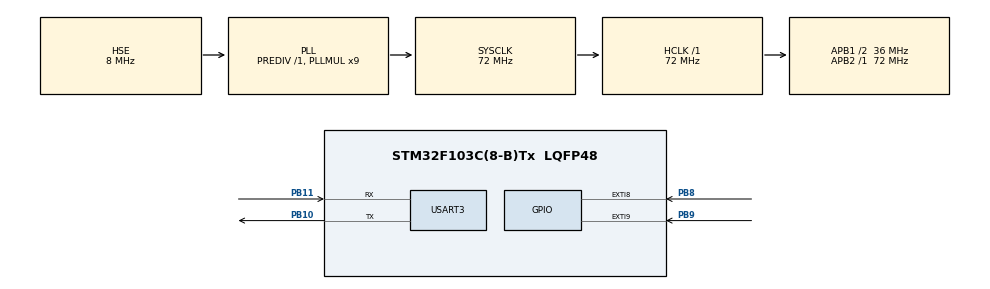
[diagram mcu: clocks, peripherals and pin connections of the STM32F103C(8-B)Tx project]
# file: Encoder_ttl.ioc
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Mcu.Family=STM32F1
Mcu.Name=STM32F103C(8-B)Tx
Mcu.Package=LQFP48
NVIC.EXTI9_5_IRQn=true\:0\:0\:true\:false\:true\:true\:true\:true
NVIC.PriorityGroup=NVIC_PRIORITYGROUP_4
PA13.Mode=Serial_Wire
PA13.Signal=SYS_JTMS-SWDIO
PA14.Mode=Serial_Wire
PA14.Signal=SYS_JTCK-SWCLK
PB10.Mode=Asynchronous
PB10.Signal=USART3_TX
PB11.Mode=Asynchronous
PB11.Signal=USART3_RX
PB8.GPIO_ModeDefaultEXTI=GPIO_MODE_IT_RISING_FALLING
PB8.GPIO_PuPd=GPIO_PULLDOWN
PB8.Signal=GPXTI8
PB9.GPIO_ModeDefaultEXTI=GPIO_MODE_IT_RISING_FALLING
PB9.GPIO_PuPd=GPIO_PULLDOWN
PB9.Signal=GPXTI9
PD0-OSC_IN.Mode=HSE-External-Oscillator
PD0-OSC_IN.Signal=RCC_OSC_IN
PD1-OSC_OUT.Mode=HSE-External-Oscillator
PD1-OSC_OUT.Signal=RCC_OSC_OUT
ProjectManager.HeapSize=0x200
ProjectManager.StackSize=0x400
ProjectManager.TargetToolchain=MDK-ARM V5.32
RCC.AHBFreq_Value=72000000
RCC.APB1CLKDivider=RCC_HCLK_DIV2
RCC.APB1Freq_Value=36000000
RCC.APB1TimFreq_Value=72000000
RCC.APB2Freq_Value=72000000
RCC.APB2TimFreq_Value=72000000
RCC.HCLKFreq_Value=72000000
RCC.PLLMUL=RCC_PLL_MUL9
RCC.PLLSourceVirtual=RCC_PLLSOURCE_HSE
RCC.SYSCLKFreq_VALUE=72000000
RCC.SYSCLKSource=RCC_SYSCLKSOURCE_PLLCLK
RCC.USBFreq_Value=72000000
USART3.VirtualMode=VM_ASYNC
board=custom

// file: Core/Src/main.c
/* USER CODE BEGIN Header */
/**
 ******************************************************************************
 * @file           : main.c
 * @brief          : Main program body
 ******************************************************************************
 * @attention
 *
 * Copyright (c) 2026 STMicroelectronics.
 * All rights reserved.
 *
 * This software is licensed under terms that can be found in the LICENSE file
 * in the root directory of this software component.
 * If no LICENSE file comes with this software, it is provided AS-IS.
 *
 ******************************************************************************
 */
/* USER CODE END Header */
#include "main.h"
#include "usart.h"
#include "gpio.h"

/* USER CODE BEGIN Includes */
#include "stdio.h"
#include "string.h"
/* USER CODE END Includes */

/* USER CODE BEGIN PV */

char buffer[50];
int Encoder_Status = 0;
int Encoder_Diff_Sum = 0;
/* USER CODE END PV */

void SystemClock_Config(void);

/* USER CODE BEGIN 0 */
int fputc(int ch, FILE *f)
{
  // 把字符 ch 通过 USART1 发送出去
  // 注意：如果你的串口是 UART2，这里要改成 &huart2
  HAL_UART_Transmit(&huart3, (uint8_t *)&ch, 1, 0xFFFF);
  return ch;
}
/* USER CODE END 0 */

int main(void)
{

  /* MCU Configuration--------------------------------------------------------*/

  /* Reset of all peripherals, Initializes the Flash interface and the Systick. */
  HAL_Init();

  /* Configure the system clock */
  SystemClock_Config();

  /* Initialize all configured peripherals */
  MX_GPIO_Init();
  MX_USART3_UART_Init();

  /* Infinite loop */
  /* USER CODE BEGIN WHILE */
    while (1) {
				printf("Encoder Count: %ld\r\n", Encoder_Diff_Sum);
				HAL_Delay(10);
    /* USER CODE END WHILE */

    }
}

void SystemClock_Config(void)
{
  RCC_OscInitTypeDef RCC_OscInitStruct = {0};
  RCC_ClkInitTypeDef RCC_ClkInitStruct = {0};

  /** Initializes the RCC Oscillators according to the specified parameters
  * in the RCC_OscInitTypeDef structure.
  */
  RCC_OscInitStruct.OscillatorType = RCC_OSCILLATORTYPE_HSE;
  RCC_OscInitStruct.HSEState = RCC_HSE_ON;
  RCC_OscInitStruct.HSEPredivValue = RCC_HSE_PREDIV_DIV1;
  RCC_OscInitStruct.HSIState = RCC_HSI_ON;
  RCC_OscInitStruct.PLL.PLLState = RCC_PLL_ON;
  RCC_OscInitStruct.PLL.PLLSource = RCC_PLLSOURCE_HSE;
  RCC_OscInitStruct.PLL.PLLMUL = RCC_PLL_MUL9;
  if (HAL_RCC_OscConfig(&RCC_OscInitStruct) != HAL_OK)
  {
    Error_Handler();
  }

  /** Initializes the CPU, AHB and APB buses clocks
  */
  RCC_ClkInitStruct.ClockType = RCC_CLOCKTYPE_HCLK|RCC_CLOCKTYPE_SYSCLK
                              |RCC_CLOCKTYPE_PCLK1|RCC_CLOCKTYPE_PCLK2;
  RCC_ClkInitStruct.SYSCLKSource = RCC_SYSCLKSOURCE_PLLCLK;
  RCC_ClkInitStruct.AHBCLKDivider = RCC_SYSCLK_DIV1;
  RCC_ClkInitStruct.APB1CLKDivider = RCC_HCLK_DIV2;
  RCC_ClkInitStruct.APB2CLKDivider = RCC_HCLK_DIV1;

  if (HAL_RCC_ClockConfig(&RCC_ClkInitStruct, FLASH_LATENCY_2) != HAL_OK)
  {
    Error_Handler();
  }
}

/* USER CODE BEGIN 4 */

// 状态查表：[上一次状态][当前状态]
// 0=无变化, 1=正转, -1=反转, 2=非法跳变(通常忽略或视为2步)
const int8_t ENCODER_TABLE[4][4] = {
    { 0,  1, -1,  0}, // Last=0 (00) -> New=00,01,10,11
    {-1,  0,  0,  1}, // Last=1 (01) -> New=00,01,10,11
    { 1,  0,  0, -1}, // Last=2 (10) -> New=00,01,10,11
    { 0, -1,  1,  0}  // Last=3 (11) -> New=00,01,10,11
};

void HAL_GPIO_EXTI_Callback(uint16_t GPIO_Pin)
{
    // 1. 读取当前的 A、B 引脚电平 (0 或 1)
    uint8_t pin_a = HAL_GPIO_ReadPin(GPIOB, GPIO_PIN_8);
    uint8_t pin_b = HAL_GPIO_ReadPin(GPIOB, GPIO_PIN_9);

    // 2. 组合成当前状态 (0 ~ 3)
    // 假设 A是高位，B是低位 (二进制 AB)
    uint8_t cur_state = (pin_a << 1) | pin_b;

    // 3. 查表获取增量
    int8_t movement = ENCODER_TABLE[Encoder_Status][cur_state];

    // 4. 更新计数值
    if (movement != 0)
    {
        Encoder_Diff_Sum += movement;
    }

    // 5. [关键] 更新旧状态，即使 movement==0 也要更新，防止状态机死锁
    Encoder_Status = cur_state;
}
/* USER CODE END 4 */

void Error_Handler(void)
{
    __disable_irq();
    while (1) {
    }
}
